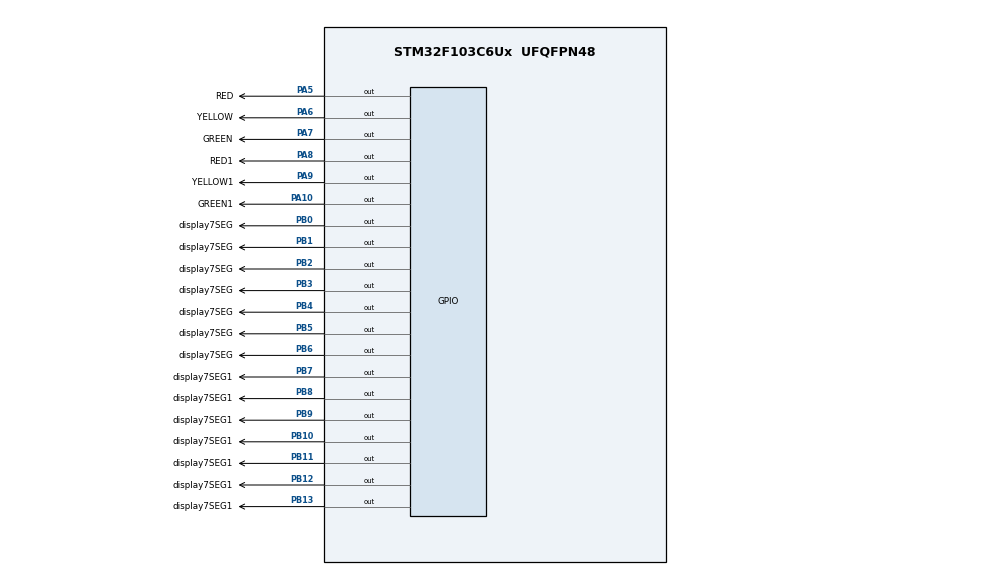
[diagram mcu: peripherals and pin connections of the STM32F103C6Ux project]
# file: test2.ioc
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Mcu.Family=STM32F1
Mcu.Name=STM32F103C6Ux
Mcu.Package=UFQFPN48
NVIC.PriorityGroup=NVIC_PRIORITYGROUP_4
NVIC.TIM2_IRQn=true\:0\:0\:false\:false\:true\:true\:true
PA10.GPIO_Label=GREEN1
PA10.Signal=GPIO_Output
PA5.GPIO_Label=RED
PA5.Signal=GPIO_Output
PA6.GPIO_Label=YELLOW
PA6.Signal=GPIO_Output
PA7.GPIO_Label=GREEN
PA7.Signal=GPIO_Output
PA8.GPIO_Label=RED1
PA8.Signal=GPIO_Output
PA9.GPIO_Label=YELLOW1
PA9.Signal=GPIO_Output
PB0.GPIO_Label=display7SEG
PB0.Signal=GPIO_Output
PB1.GPIO_Label=display7SEG
PB1.Signal=GPIO_Output
PB10.GPIO_Label=display7SEG1
PB10.Signal=GPIO_Output
PB11.GPIO_Label=display7SEG1
PB11.Signal=GPIO_Output
PB12.GPIO_Label=display7SEG1
PB12.Signal=GPIO_Output
PB13.GPIO_Label=display7SEG1
PB13.Signal=GPIO_Output
PB2.GPIO_Label=display7SEG
PB2.Signal=GPIO_Output
PB3.GPIO_Label=display7SEG
PB3.Signal=GPIO_Output
PB4.GPIO_Label=display7SEG
PB4.Signal=GPIO_Output
PB5.GPIO_Label=display7SEG
PB5.Signal=GPIO_Output
PB6.GPIO_Label=display7SEG
PB6.Signal=GPIO_Output
PB7.GPIO_Label=display7SEG1
PB7.Signal=GPIO_Output
PB8.GPIO_Label=display7SEG1
PB8.Signal=GPIO_Output
PB9.GPIO_Label=display7SEG1
PB9.Signal=GPIO_Output
ProjectManager.HeapSize=0x200
ProjectManager.StackSize=0x400
ProjectManager.TargetToolchain=STM32CubeIDE
RCC.APB1Freq_Value=8000000
RCC.APB2Freq_Value=8000000
TIM2.Period=9
TIM2.Prescaler=7999
VP_SYS_VS_ND.Mode=No_Debug
VP_TIM2_VS_ClockSourceINT.Mode=Internal
board=custom

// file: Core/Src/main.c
/* USER CODE BEGIN Header */
/**
  ******************************************************************************
  * @file           : main.c
  * @brief          : Main program body
  ******************************************************************************
  * @attention
  *
  * <h2><center>&copy; Copyright (c) 2024 STMicroelectronics.
  * All rights reserved.</center></h2>
  *
  * This software component is licensed by ST under BSD 3-Clause license,
  * the "License"; You may not use this file except in compliance with the
  * License. You may obtain a copy of the License at:
  *                        opensource.org/licenses/BSD-3-Clause
  *
  ******************************************************************************
  */
/* USER CODE END Header */
#include "main.h"

/* USER CODE BEGIN Includes */
#include "software_timer.h"
/* USER CODE END Includes */

TIM_HandleTypeDef htim2;

void SystemClock_Config(void);
static void MX_GPIO_Init(void);
static void MX_TIM2_Init(void);

/* USER CODE BEGIN 0 */
void HAL_TIM_PeriodElapsedCallback (TIM_HandleTypeDef *htim)
{
	timerRun();
}

const uint8_t seven_seg_digits[] = {
    0x3F, // 0
    0x06, // 1
    0x5B, // 2
    0x4F, // 3
    0x66, // 4
    0x6D, // 5
    0x7D, // 6
    0x07, // 7
    0x7F, // 8
    0x6F  // 9
};

void display7SEG(uint8_t number) {
    // Assuming the 7-segment display is connected to GPIO pins PB0-PB6

    // Determine which segments should be turned on based on the number
    uint8_t segments = seven_seg_digits[number];

    // Turn on the segments based on the pattern for the specified number
    HAL_GPIO_WritePin(display7SEG_GPIO_Port, display7SEG_Pin, (segments & 0x01) ? GPIO_PIN_RESET : GPIO_PIN_SET);
    HAL_GPIO_WritePin(display7SEGB1_GPIO_Port, display7SEGB1_Pin, ((segments >> 1) & 0x01) ? GPIO_PIN_RESET : GPIO_PIN_SET);
    HAL_GPIO_WritePin(display7SEGB2_GPIO_Port, display7SEGB2_Pin, ((segments >> 2) & 0x01) ? GPIO_PIN_RESET : GPIO_PIN_SET);
    HAL_GPIO_WritePin(display7SEGB3_GPIO_Port, display7SEGB3_Pin, ((segments >> 3) & 0x01) ? GPIO_PIN_RESET : GPIO_PIN_SET);
    HAL_GPIO_WritePin(display7SEGB4_GPIO_Port, display7SEGB4_Pin, ((segments >> 4) & 0x01) ? GPIO_PIN_RESET : GPIO_PIN_SET);
    HAL_GPIO_WritePin(display7SEGB5_GPIO_Port, display7SEGB5_Pin, ((segments >> 5) & 0x01) ? GPIO_PIN_RESET : GPIO_PIN_SET);
    HAL_GPIO_WritePin(display7SEGB6_GPIO_Port, display7SEGB6_Pin, ((segments >> 6) & 0x01) ? GPIO_PIN_RESET : GPIO_PIN_SET);
}

void display7SEG1(uint8_t number) {
    // Assuming the 7-segment display is connected to GPIO pins PB0-PB6

    // Determine which segments should be turned on based on the number
    uint8_t segments = seven_seg_digits[number];

    // Turn on the segments based on the pattern for the specified number
    HAL_GPIO_WritePin(display7SEG1B7_GPIO_Port, display7SEG1B7_Pin, (segments & 0x01) ? GPIO_PIN_RESET : GPIO_PIN_SET);
    HAL_GPIO_WritePin(display7SEG1B8_GPIO_Port, display7SEG1B8_Pin, ((segments >> 1) & 0x01) ? GPIO_PIN_RESET : GPIO_PIN_SET);
    HAL_GPIO_WritePin(display7SEG1B9_GPIO_Port, display7SEG1B9_Pin, ((segments >> 2) & 0x01) ? GPIO_PIN_RESET : GPIO_PIN_SET);
    HAL_GPIO_WritePin(display7SEG1_GPIO_Port, display7SEG1_Pin, ((segments >> 3) & 0x01) ? GPIO_PIN_RESET : GPIO_PIN_SET);
    HAL_GPIO_WritePin(display7SEG1B11_GPIO_Port, display7SEG1B11_Pin, ((segments >> 4) & 0x01) ? GPIO_PIN_RESET : GPIO_PIN_SET);
    HAL_GPIO_WritePin(display7SEG1B12_GPIO_Port, display7SEG1B12_Pin, ((segments >> 5) & 0x01) ? GPIO_PIN_RESET : GPIO_PIN_SET);
    HAL_GPIO_WritePin(display7SEG1B13_GPIO_Port, display7SEG1B13_Pin, ((segments >> 6) & 0x01) ? GPIO_PIN_RESET : GPIO_PIN_SET);
}
/* USER CODE END 0 */

int main(void)
{
  /* USER CODE BEGIN 1 */
	int state = 0;
	int stats = 0;
	setTimer(0, 500);
	setTimer(1, 300);

  /* USER CODE END 1 */

  /* MCU Configuration--------------------------------------------------------*/

  /* Reset of all peripherals, Initializes the Flash interface and the Systick. */
  HAL_Init();

  /* Configure the system clock */
  SystemClock_Config();

  /* Initialize all configured peripherals */
  MX_GPIO_Init();
  MX_TIM2_Init();
  /* USER CODE BEGIN 2 */
  HAL_TIM_Base_Start_IT(&htim2);
  /* USER CODE END 2 */

  /* Infinite loop */
  /* USER CODE BEGIN WHILE */
  while (1)
  {
	  switch(state){
	  case 0:
		  HAL_GPIO_WritePin(RED_GPIO_Port, RED_Pin, GPIO_PIN_RESET);
		  HAL_GPIO_WritePin(GREEN_GPIO_Port, GREEN_Pin, GPIO_PIN_SET);
		  HAL_GPIO_WritePin(YELLOW_GPIO_Port, YELLOW_Pin, GPIO_PIN_SET);
		  HAL_GPIO_WritePin(RED1_GPIO_Port, RED1_Pin, GPIO_PIN_SET);
		  display7SEG(timer_counter[0] / 100);

		  switch(stats){
		  case 0:
			  HAL_GPIO_WritePin(GREEN1_GPIO_Port, GREEN1_Pin, GPIO_PIN_RESET);
			  HAL_GPIO_WritePin(YELLOW1_GPIO_Port, YELLOW1_Pin, GPIO_PIN_SET);
			  if(isTimerExpired(1) == 1){
				  stats = 1;
				  setTimer(2, 200);
			  }
			  display7SEG1(timer_counter[1] / 100);
			  break;

		  case 1:
			  HAL_GPIO_WritePin(GREEN1_GPIO_Port, GREEN1_Pin, GPIO_PIN_SET);
			  HAL_GPIO_WritePin(YELLOW1_GPIO_Port, YELLOW1_Pin, GPIO_PIN_RESET);
			  if(isTimerExpired(2) == 1){
				  state = 1;
				  stats = 0;
				  setTimer(0, 500);
				  setTimer(1, 300);

			  }
			  display7SEG1(timer_counter[2] / 100);
			  break;
		  }

		  break;

	  case 1:
		  HAL_GPIO_WritePin(RED1_GPIO_Port, RED1_Pin, GPIO_PIN_RESET);
		  HAL_GPIO_WritePin(GREEN1_GPIO_Port, GREEN1_Pin, GPIO_PIN_SET);
		  HAL_GPIO_WritePin(YELLOW1_GPIO_Port, YELLOW1_Pin, GPIO_PIN_SET);
		  HAL_GPIO_WritePin(RED_GPIO_Port, RED_Pin, GPIO_PIN_SET);
		  display7SEG1(timer_counter[0] / 100);

		  switch(stats){
		  case 0:
			  HAL_GPIO_WritePin(GREEN_GPIO_Port, GREEN_Pin, GPIO_PIN_RESET);
			  HAL_GPIO_WritePin(YELLOW_GPIO_Port, YELLOW_Pin, GPIO_PIN_SET);
			  if(isTimerExpired(1) == 1){
				  stats = 1;
				  setTimer(2, 200);
			  }
			  display7SEG(timer_counter[1] / 100);
			  break;

		  case 1:
			  HAL_GPIO_WritePin(GREEN_GPIO_Port, GREEN_Pin, GPIO_PIN_SET);
			  HAL_GPIO_WritePin(YELLOW_GPIO_Port, YELLOW_Pin, GPIO_PIN_RESET);
			  if(isTimerExpired(2) == 1){
				  state = 0;
				  stats = 0;
				  setTimer(0, 500);
				  setTimer(1, 300);

			  }
			  display7SEG(timer_counter[2] / 100);
			  break;
		  }

		  break;
	  }

    /* USER CODE END WHILE */

  }
}

void SystemClock_Config(void)
{
  RCC_OscInitTypeDef RCC_OscInitStruct = {0};
  RCC_ClkInitTypeDef RCC_ClkInitStruct = {0};

  /** Initializes the RCC Oscillators according to the specified parameters
  * in the RCC_OscInitTypeDef structure.
  */
  RCC_OscInitStruct.OscillatorType = RCC_OSCILLATORTYPE_HSI;
  RCC_OscInitStruct.HSIState = RCC_HSI_ON;
  RCC_OscInitStruct.HSICalibrationValue = RCC_HSICALIBRATION_DEFAULT;
  RCC_OscInitStruct.PLL.PLLState = RCC_PLL_NONE;
  if (HAL_RCC_OscConfig(&RCC_OscInitStruct) != HAL_OK)
  {
    Error_Handler();
  }
  /** Initializes the CPU, AHB and APB buses clocks
  */
  RCC_ClkInitStruct.ClockType = RCC_CLOCKTYPE_HCLK|RCC_CLOCKTYPE_SYSCLK
                              |RCC_CLOCKTYPE_PCLK1|RCC_CLOCKTYPE_PCLK2;
  RCC_ClkInitStruct.SYSCLKSource = RCC_SYSCLKSOURCE_HSI;
  RCC_ClkInitStruct.AHBCLKDivider = RCC_SYSCLK_DIV1;
  RCC_ClkInitStruct.APB1CLKDivider = RCC_HCLK_DIV1;
  RCC_ClkInitStruct.APB2CLKDivider = RCC_HCLK_DIV1;

  if (HAL_RCC_ClockConfig(&RCC_ClkInitStruct, FLASH_LATENCY_0) != HAL_OK)
  {
    Error_Handler();
  }
}

static void MX_TIM2_Init(void)
{

  TIM_ClockConfigTypeDef sClockSourceConfig = {0};
  TIM_MasterConfigTypeDef sMasterConfig = {0};

  htim2.Instance = TIM2;
  htim2.Init.Prescaler = 7999;
  htim2.Init.CounterMode = TIM_COUNTERMODE_UP;
  htim2.Init.Period = 9;
  htim2.Init.ClockDivision = TIM_CLOCKDIVISION_DIV1;
  htim2.Init.AutoReloadPreload = TIM_AUTORELOAD_PRELOAD_DISABLE;
  if (HAL_TIM_Base_Init(&htim2) != HAL_OK)
  {
    Error_Handler();
  }
  sClockSourceConfig.ClockSource = TIM_CLOCKSOURCE_INTERNAL;
  if (HAL_TIM_ConfigClockSource(&htim2, &sClockSourceConfig) != HAL_OK)
  {
    Error_Handler();
  }
  sMasterConfig.MasterOutputTrigger = TIM_TRGO_RESET;
  sMasterConfig.MasterSlaveMode = TIM_MASTERSLAVEMODE_DISABLE;
  if (HAL_TIMEx_MasterConfigSynchronization(&htim2, &sMasterConfig) != HAL_OK)
  {
    Error_Handler();
  }

}

static void MX_GPIO_Init(void)
{
  GPIO_InitTypeDef GPIO_InitStruct = {0};

  /* GPIO Ports Clock Enable */
  __HAL_RCC_GPIOA_CLK_ENABLE();
  __HAL_RCC_GPIOB_CLK_ENABLE();

  /*Configure GPIO pin Output Level */
  HAL_GPIO_WritePin(GPIOA, RED_Pin|YELLOW_Pin|GREEN_Pin|RED1_Pin
                          |YELLOW1_Pin|GREEN1_Pin, GPIO_PIN_SET);

  /*Configure GPIO pin Output Level */
  HAL_GPIO_WritePin(GPIOB, display7SEG_Pin|display7SEGB1_Pin|display7SEGB2_Pin|display7SEG1_Pin
                          |display7SEG1B11_Pin|display7SEG1B12_Pin|display7SEG1B13_Pin|display7SEGB3_Pin
                          |display7SEGB4_Pin|display7SEGB5_Pin|display7SEGB6_Pin|display7SEG1B7_Pin
                          |display7SEG1B8_Pin|display7SEG1B9_Pin, GPIO_PIN_SET);

  /*Configure GPIO pins : RED_Pin YELLOW_Pin GREEN_Pin RED1_Pin
                           YELLOW1_Pin GREEN1_Pin */
  GPIO_InitStruct.Pin = RED_Pin|YELLOW_Pin|GREEN_Pin|RED1_Pin
                          |YELLOW1_Pin|GREEN1_Pin;
  GPIO_InitStruct.Mode = GPIO_MODE_OUTPUT_PP;
  GPIO_InitStruct.Pull = GPIO_NOPULL;
  GPIO_InitStruct.Speed = GPIO_SPEED_FREQ_LOW;
  HAL_GPIO_Init(GPIOA, &GPIO_InitStruct);

  /*Configure GPIO pins : display7SEG_Pin display7SEGB1_Pin display7SEGB2_Pin display7SEG1_Pin
                           display7SEG1B11_Pin display7SEG1B12_Pin display7SEG1B13_Pin display7SEGB3_Pin
                           display7SEGB4_Pin display7SEGB5_Pin display7SEGB6_Pin display7SEG1B7_Pin
                           display7SEG1B8_Pin display7SEG1B9_Pin */
  GPIO_InitStruct.Pin = display7SEG_Pin|display7SEGB1_Pin|display7SEGB2_Pin|display7SEG1_Pin
                          |display7SEG1B11_Pin|display7SEG1B12_Pin|display7SEG1B13_Pin|display7SEGB3_Pin
                          |display7SEGB4_Pin|display7SEGB5_Pin|display7SEGB6_Pin|display7SEG1B7_Pin
                          |display7SEG1B8_Pin|display7SEG1B9_Pin;
  GPIO_InitStruct.Mode = GPIO_MODE_OUTPUT_PP;
  GPIO_InitStruct.Pull = GPIO_NOPULL;
  GPIO_InitStruct.Speed = GPIO_SPEED_FREQ_LOW;
  HAL_GPIO_Init(GPIOB, &GPIO_InitStruct);

}

void Error_Handler(void)
{
  __disable_irq();
  while (1)
  {
  }
}

/************************ (C) COPYRIGHT STMicroelectronics *****END OF FILE****/
